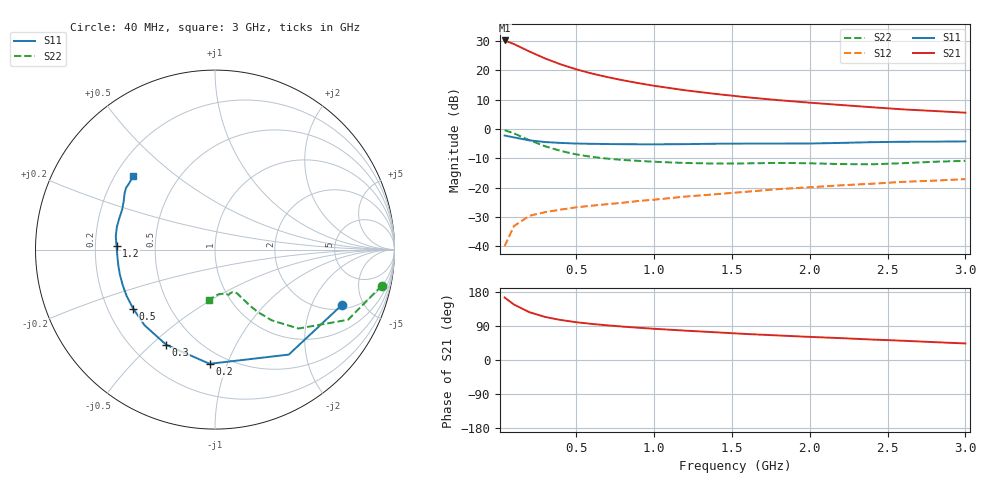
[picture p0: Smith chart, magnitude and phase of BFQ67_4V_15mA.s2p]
! Filename:  BFG67D.S2P  Version:  2.0
! Philips part #: BFG 67  Date: Jul 1990
! Bias condition: Vce=4V, Ic=15mA
! IN LINE PINNING: same data as with cross emitter pinning.
#  MHz  S  MA  R  50
! Freq  S11  S21  S12  S22  !GUM [dB]
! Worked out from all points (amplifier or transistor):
!   21 points, 40 MHz to 3 GHz, reference 50 ohm
!   highest |S21| = 30.1 dB at 40 MHz (marker M1)
!   |S21| within 3 dB of that: start of sweep to 169.6 MHz
!   unconditionally stable (mu >= 1): 1.047 GHz to end of sweep
!   at 300 MHz: K = 0.44, MSG = 26.2 dB, |S12| = -28.4 dB
!   at 1 GHz: K = 0.99, MSG = 19.4 dB, |S12| = -24.2 dB
!   at 3 GHz: K = 1.14, MAG = 9.0 dB, |S12| = -17.1 dB
!   S11 on the Smith chart (normalised r, x): 40 MHz: 2.24, -3.40; 200 MHz: 0.41, -0.87; 300 MHz: 0.34, -0.56; 500 MHz: 0.31, -0.30; 1.2 GHz: 0.29, +0.02; 3 GHz: 0.27, +0.36
40  0.771 -23.6  32.16 164.8  0.01 77.3  0.951 -12.2
100  0.715 -54.9  27.93 146.4  0.022 64.7  0.838 -27.8
200  0.637 -92.7  20.82 126.0  0.033 51.9  0.64 -43.4
300  0.596 -117.1  15.87 113.6  0.038 46.3  0.505 -51.3
400  0.576 -133.0  12.6 105.6  0.042 45.4  0.421 -55.6
500  0.562 -144.2  10.35 99.7  0.046 45.3  0.367 -58.1
600  0.556 -152.5  8.788 95.2  0.049 45.8  0.333 -59.6
700  0.551 -159.0  7.637 91.5  0.052 46.9  0.311 -60.9
800  0.548 -165.0  6.737 88.1  0.055 48.6  0.295 -61.7
900  0.546 -169.9  6.019 85.1  0.059 50.3  0.285 -62.4
1000  0.545 -174.3  5.43 82.4  0.062 51.5  0.275 -63.0
1200  0.549 178.1  4.549 77.5  0.07 53.4  0.262 -65.0
1400  0.558 172.2  3.928 73.0  0.077 54.9  0.256 -68.2
1600  0.561 167.1  3.45 68.5  0.085 56.7  0.258 -71.2
1800  0.561 162.2  3.086 64.7  0.094 57.4  0.263 -73.0
2000  0.563 156.8  2.795 61.0  0.101 58.1  0.259 -74.5
2200  0.576 152.0  2.554 57.7  0.109 58.8  0.251 -78.4
2400  0.593 148.2  2.337 54.0  0.116 59.2  0.249 -84.9
2600  0.603 145.3  2.149 50.8  0.125 59.6  0.26 -90.7
2800  0.605 142.0  2.017 47.1  0.131 58.6  0.275 -94.6
3000  0.612 138.2  1.887 43.7  0.139 58.9  0.285 -97.3
